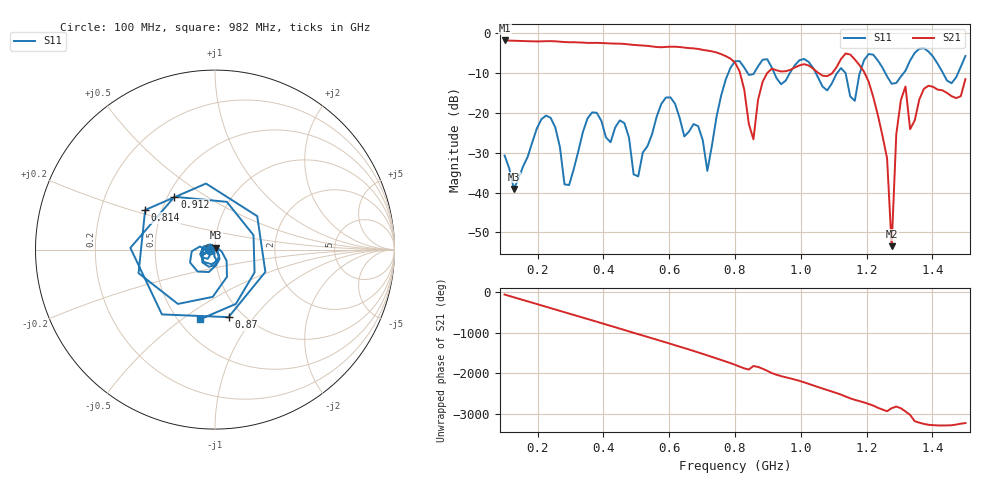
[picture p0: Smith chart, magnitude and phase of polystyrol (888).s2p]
! NanoVNA-App
! Date: 2025-09-25 15:36:47
! Start: 100MHz Stop: 1,5GHz Points: 101
! S-Parameter data: F S11 S21 S12 S22
# Hz S RI R 50
!  Frequency  S11_Real  S11_Imag  S21_Real  S21_Imag  S12_Real  S12_Imag  S22_Real  S22_Imag
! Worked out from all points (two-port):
!   101 points, 100 MHz to 1.5 GHz, reference 50 ohm
!   highest |S21| = -1.80 dB at 100 MHz (marker M1); lowest = -53.5 dB at 1.276 GHz (marker M2)
!   |S21| within 3 dB of the highest: start of sweep to 742.9 MHz
!   lowest |S11| = -39.1 dB at 128 MHz (marker M3), VSWR 1.02, Z = 50.3 + j1.06 ohm
!   |S11| at or under -10 dB: start of sweep to 779.7 MHz; 1.046 GHz to 1.11 GHz (64.74 MHz wide, 6.01 % of centre); 1.257 GHz to 1.312 GHz (55.4 MHz wide, 4.31 % of centre) (the widest 3 of 7)
!   S12 and S22 are empty: the file has one direction only
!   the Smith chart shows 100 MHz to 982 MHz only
!   S11 on the Smith chart (normalised r, x): 100 MHz: 0.94, -0.01; 814 MHz: 0.40, +0.22; 870 MHz: 0.86, -0.76; 912 MHz: 0.54, +0.37; 982 MHz: 0.63, -0.59
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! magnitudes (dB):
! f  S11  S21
! 100 MHz  -30.7  -1.8
! 128 MHz  -39.1  -1.9
! 212 MHz  -21.6  -2.0
! 282 MHz  -37.9  -2.2
! 338 MHz  -24.8  -2.3
! 506 MHz  -35.9  -3.0
! 576 MHz  -17.8  -3.5
! 716 MHz  -34.6  -4.3
! 800 MHz  -7.0  -7.4
! 814 MHz  -7.0  -9.6
! 856 MHz  -10.3  -26.6
! 870 MHz  -8.3  -16.7
! 912 MHz  -8.6  -8.9
! 982 MHz  -8.0  -8.6
! 1.038 GHz  -8.8  -8.9
! 1.164 GHz  -17.0  -6.6
! 1.206 GHz  -5.2  -12.1
! 1.262 GHz  -10.8  -31.4
! 1.276 GHz  -12.7  -53.5
! 1.29 GHz  -12.5  -25.4
! 1.318 GHz  -9.4  -13.4
! 1.5 GHz  -5.7  -11.5
